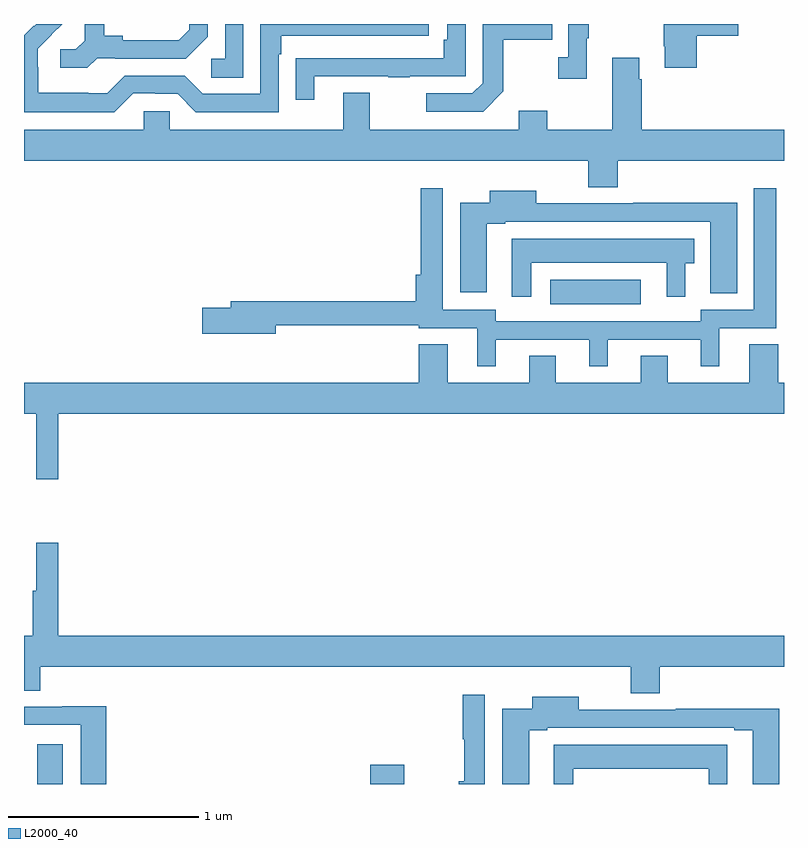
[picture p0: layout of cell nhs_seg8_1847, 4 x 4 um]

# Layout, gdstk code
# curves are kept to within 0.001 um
import gdstk
lib = gdstk.Library(unit=1e-6, precision=1e-09)
def R(c, l, rs):  # rectangles x0, y0, x1, y1
    for r in rs: c.add(gdstk.rectangle(r[:2], r[2:], *l))
def P(c, l, *ps):  # polygons
    for p in ps: c.add(gdstk.Polygon(p, *l))
L2000_40 = (2000, 40)

nhs_seg8_1847 = lib.new_cell('nhs_seg8_1847')
R(nhs_seg8_1847, L2000_40, [(229.07,1099.9,229.204,1100.11), (230.822,1099.9,231,1100.002), (231.771,1102.424,232.246,1102.555), (229.595,1103.899,229.74,1103.9)])
P(nhs_seg8_1847, L2000_40, [(231.523,1103.545),(231.523,1103.818),(231.779,1103.818),(231.779,1103.9),(231.414,1103.9),(231.414,1103.589),(231.36,1103.535),(231.117,1103.535),(231.117,1103.439),(231.417,1103.439)],
  [(230.154,1103.9),(230.058,1103.9),(230.058,1103.718),(229.986,1103.718),(229.986,1103.617),(230.154,1103.617)],
  [(229.575,1103.535),(229.691,1103.535),(229.691,1103.532),(229.809,1103.532),(229.905,1103.436),(230.34,1103.436),(230.34,1103.741),(230.353,1103.741),(230.353,1103.838),(231.13,1103.838),(231.13,1103.9),(230.244,1103.9),(230.244,1103.532),(229.941,1103.532),(229.845,1103.628),(229.53,1103.628),(229.437,1103.535),(229.337,1103.535),(229.337,1103.539),(229.074,1103.539),(229.074,1103.673),(229.072,1103.673),(229.072,1103.77),(229.2,1103.9),(229.064,1103.9),(229.053,1103.889),(229.05,1103.892),(229,1103.842),(229,1103.435),(229.475,1103.435)],
  [(232.541,1103.837),(232.759,1103.837),(232.759,1103.9),(232.366,1103.9),(232.366,1103.782),(232.373,1103.782),(232.373,1103.67),(232.541,1103.67)],
  [(229.386,1103.721),(229.48,1103.721),(229.48,1103.718),(229.852,1103.718),(229.968,1103.834),(229.968,1103.9),(229.871,1103.9),(229.871,1103.871),(229.814,1103.814),(229.519,1103.814),(229.519,1103.837),(229.423,1103.837),(229.423,1103.9),(229.319,1103.9),(229.319,1103.813),(229.272,1103.766),(229.191,1103.766),(229.191,1103.669),(229.334,1103.669)],
  [(231.961,1103.825),(231.973,1103.825),(231.973,1103.9),(231.864,1103.9),(231.864,1103.726),(231.813,1103.726),(231.813,1103.613),(231.961,1103.613)],
  [(230.527,1103.625),(230.917,1103.625),(230.917,1103.62),(231.029,1103.62),(231.029,1103.625),(231.324,1103.625),(231.324,1103.9),(231.228,1103.9),(231.228,1103.818),(231.208,1103.818),(231.208,1103.721),(230.533,1103.721),(230.533,1103.72),(230.431,1103.72),(230.431,1103.502),(230.527,1103.502)],
  [(232.124,1103.18),(233,1103.18),(233,1103.344),(232.25,1103.344),(232.25,1103.609),(232.237,1103.609),(232.237,1103.722),(232.097,1103.722),(232.097,1103.344),(231.753,1103.344),(231.753,1103.443),(231.605,1103.443),(231.605,1103.344),(230.821,1103.344),(230.821,1103.539),(230.681,1103.539),(230.681,1103.344),(229.767,1103.344),(229.767,1103.442),(229.629,1103.442),(229.629,1103.344),(229,1103.344),(229,1103.18),(231.971,1103.18),(231.971,1103.041),(232.124,1103.041)],
  [(231.484,1102.239),(231.974,1102.239),(231.974,1102.098),(232.072,1102.098),(232.072,1102.239),(232.562,1102.239),(232.562,1102.098),(232.66,1102.098),(232.66,1102.299),(232.958,1102.299),(232.958,1103.035),(232.842,1103.035),(232.842,1102.395),(232.563,1102.395),(232.563,1102.335),(231.483,1102.335),(231.483,1102.395),(231.204,1102.395),(231.204,1103.035),(231.088,1103.035),(231.088,1102.579),(231.062,1102.579),(231.062,1102.442),(230.087,1102.442),(230.087,1102.406),(229.938,1102.406),(229.938,1102.271),(230.326,1102.271),(230.326,1102.314),(231.078,1102.314),(231.078,1102.299),(231.386,1102.299),(231.386,1102.098),(231.484,1102.098)],
  [(232.753,1102.959),(232.207,1102.959),(232.207,1102.956),(231.697,1102.956),(231.697,1103.023),(231.452,1103.023),(231.452,1102.959),(231.296,1102.959),(231.296,1102.488),(231.436,1102.488),(231.436,1102.848),(231.532,1102.848),(231.532,1102.86),(232.613,1102.86),(232.613,1102.482),(232.753,1102.482)],
  [(231.67,1102.643),(232.382,1102.643),(232.382,1102.464),(232.48,1102.464),(232.48,1102.642),(232.528,1102.642),(232.528,1102.771),(231.566,1102.771),(231.566,1102.464),(231.67,1102.464)],
  [(229.181,1101.848),(233,1101.848),(233,1102.012),(232.97,1102.012),(232.97,1102.214),(232.817,1102.214),(232.817,1102.012),(232.387,1102.012),(232.387,1102.154),(232.247,1102.154),(232.247,1102.012),(231.799,1102.012),(231.799,1102.154),(231.659,1102.154),(231.659,1102.012),(231.229,1102.012),(231.229,1102.214),(231.077,1102.214),(231.077,1102.012),(229,1102.012),(229,1101.848),(229.064,1101.848),(229.064,1101.504),(229.181,1101.504)],
  [(232.346,1100.516),(233,1100.516),(233,1100.68),(229.181,1100.68),(229.181,1101.169),(229.064,1101.169),(229.064,1100.916),(229.045,1100.916),(229.045,1100.68),(229,1100.68),(229,1100.392),(229.085,1100.392),(229.085,1100.516),(232.193,1100.516),(232.193,1100.377),(232.346,1100.377)],
  [(231.426,1100.371),(231.31,1100.371),(231.31,1100.135),(231.318,1100.135),(231.318,1099.915),(231.289,1099.915),(231.289,1099.9),(231.426,1099.9)],
  [(231.658,1100.184),(231.754,1100.184),(231.754,1100.196),(232.739,1100.196),(232.739,1100.184),(232.835,1100.184),(232.835,1099.9),(232.975,1099.9),(232.975,1100.295),(232.429,1100.295),(232.429,1100.292),(231.919,1100.292),(231.919,1100.359),(231.674,1100.359),(231.674,1100.295),(231.518,1100.295),(231.518,1099.9),(231.658,1099.9)],
  [(229.433,1100.309),(229.202,1100.309),(229.202,1100.307),(229,1100.307),(229,1100.211),(229.298,1100.211),(229.298,1099.9),(229.433,1099.9)],
  [(231.892,1099.979),(232.604,1099.979),(232.604,1099.9),(232.702,1099.9),(232.702,1100.107),(231.788,1100.107),(231.788,1099.9),(231.892,1099.9)])

lib.write_gds('nhs_seg8_1847.gds')
